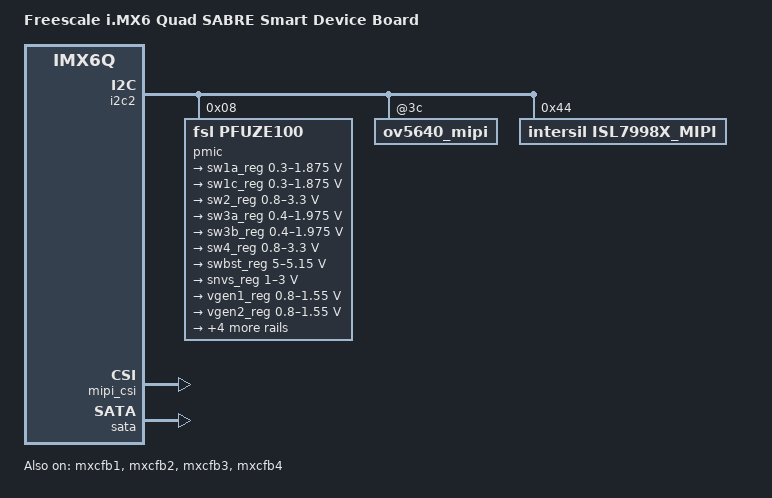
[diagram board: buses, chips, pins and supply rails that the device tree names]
/*
 * Copyright 2012 Freescale Semiconductor, Inc.
 * Copyright 2011 Linaro Ltd.
 *
 * The code contained herein is licensed under the GNU General Public
 * License. You may obtain a copy of the GNU General Public License
 * Version 2 or later at the following locations:
 *
 * http://www.opensource.org/licenses/gpl-license.html
 * http://www.gnu.org/copyleft/gpl.html
 */

/dts-v1/;

#include "imx6q.dtsi"
#include "imx6qdl-sabresd.dtsi"

/ {
	model = "Freescale i.MX6 Quad SABRE Smart Device Board";
	compatible = "fsl,imx6q-sabresd", "fsl,imx6q";

	v4l2_cap_2 {
		compatible = "fsl,imx6q-v4l2-capture";
		ipu_id = <1>;
		csi_id = <0>;
		mclk_source = <0>;
		status = "okay";
	};

	v4l2_cap_3 {
		compatible = "fsl,imx6q-v4l2-capture";
		ipu_id = <1>;
		csi_id = <1>;
		mclk_source = <0>;
		status = "okay";
	};
};

&battery {
	offset-charger = <1900>;
	offset-discharger = <1694>;
	offset-usb-charger = <1685>;
};

&i2c2 {
	pmic: pfuze100@08 {
		compatible = "fsl,pfuze100";
		reg = <0x08>;

		regulators {
			sw1a_reg: sw1ab {
				regulator-min-microvolt = <300000>;
				regulator-max-microvolt = <1875000>;
				regulator-boot-on;
				regulator-always-on;
				regulator-ramp-delay = <6250>;
			};

			sw1c_reg: sw1c {
				regulator-min-microvolt = <300000>;
				regulator-max-microvolt = <1875000>;
				regulator-boot-on;
				regulator-always-on;
				regulator-ramp-delay = <6250>;
			};

			sw2_reg: sw2 {
				regulator-min-microvolt = <800000>;
				regulator-max-microvolt = <3300000>;
				regulator-boot-on;
				regulator-always-on;
			};

			sw3a_reg: sw3a {
				regulator-min-microvolt = <400000>;
				regulator-max-microvolt = <1975000>;
				regulator-boot-on;
				regulator-always-on;
			};

			sw3b_reg: sw3b {
				regulator-min-microvolt = <400000>;
				regulator-max-microvolt = <1975000>;
				regulator-boot-on;
				regulator-always-on;
			};

			sw4_reg: sw4 {
				regulator-min-microvolt = <800000>;
				regulator-max-microvolt = <3300000>;
			};

			swbst_reg: swbst {
				regulator-min-microvolt = <5000000>;
				regulator-max-microvolt = <5150000>;
			};

			snvs_reg: vsnvs {
				regulator-min-microvolt = <1000000>;
				regulator-max-microvolt = <3000000>;
				regulator-boot-on;
				regulator-always-on;
			};

			vref_reg: vrefddr {
				regulator-boot-on;
				regulator-always-on;
			};

			vgen1_reg: vgen1 {
				regulator-min-microvolt = <800000>;
				regulator-max-microvolt = <1550000>;
			};

			vgen2_reg: vgen2 {
				regulator-min-microvolt = <800000>;
				regulator-max-microvolt = <1550000>;
			};

			vgen3_reg: vgen3 {
				regulator-min-microvolt = <1800000>;
				regulator-max-microvolt = <3300000>;
			};

			vgen4_reg: vgen4 {
				regulator-min-microvolt = <1800000>;
				regulator-max-microvolt = <3300000>;
				regulator-always-on;
			};

			vgen5_reg: vgen5 {
				regulator-min-microvolt = <1800000>;
				regulator-max-microvolt = <3300000>;
				regulator-always-on;
			};

			vgen6_reg: vgen6 {
				regulator-min-microvolt = <1800000>;
				regulator-max-microvolt = <3300000>;
				regulator-always-on;
			};
		};
	};
};

&ldb {
	lvds-channel@0 {
		crtc = "ipu2-di0";
	};

	lvds-channel@1 {
		crtc = "ipu2-di1";
	};
};

&i2c2 {
	ov5640_mipi: ov5640_mipi@3c {
		ipu_id = <1>;
		csi_id = <1>;
		v_channel_id = <3>;
	};

	isl7998x_mipi: isl7998x_mipi@44 {
		compatible = "intersil,isl7998x_mipi";
		reg = <0x44>;
		clocks = <&clks 201>;
		clock-names = "csi_mclk";
		csi_id = <0>;
		mclk = <27000000>;
		mclk_source = <0>;
	};
};

&mipi_csi {
	status = "okay";
	lanes = <2>;

	mipi-csi2-channel@0 {
		ipu_id = <0>;
		csi_id = <0>;
		v_channel = <0>;
		status = "okay";
	};

	mipi-csi2-channel@1 {
		ipu_id = <0>;
		csi_id = <1>;
		v_channel = <1>;
		status = "okay";
	};

	mipi-csi2-channel@2 {
		ipu_id = <1>;
		csi_id = <0>;
		v_channel = <2>;
		status = "okay";
	};

	mipi-csi2-channel@3 {
		ipu_id = <1>;
		csi_id = <1>;
		v_channel = <3>;
		status = "okay";
	};
};

&mxcfb1 {
	status = "okay";
};

&mxcfb2 {
	status = "okay";
};

&mxcfb3 {
	status = "okay";
};

&mxcfb4 {
	status = "okay";
};

&sata {
	status = "okay";
};

